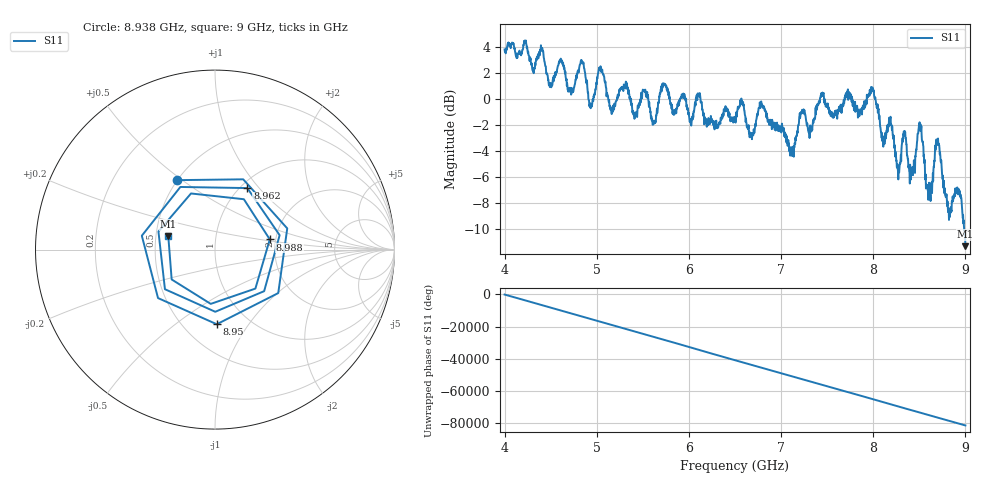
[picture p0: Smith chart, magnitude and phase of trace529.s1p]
! Created with skrf 1.8.0 (http://scikit-rf.org).
# Hz S RI R 50.0
!freq ReS11 ImS11
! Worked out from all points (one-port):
!   1601 points, 4 GHz to 9 GHz, reference 50 ohm
!   lowest |S11| = -11.4 dB at 9 GHz (marker M1), VSWR 1.74, Z = 29.1 + j4.63 ohm
!   |S11| at or under -10 dB: 8.986223 GHz to end of sweep
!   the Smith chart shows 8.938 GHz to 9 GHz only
!   S11 on the Smith chart (normalised r, x): 8.938 GHz: 0.50, +0.48; 8.95 GHz: 0.72, -0.72; 8.962 GHz: 1.08, +0.87; 8.988 GHz: 1.86, +0.23; 9 GHz: 0.58, +0.09
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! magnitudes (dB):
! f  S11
! 4 GHz  3.8
! 4.625 GHz  2.7
! 4.722 GHz  0.3
! 4.844 GHz  2.7
! 4.934 GHz  -0.7
! 5.038 GHz  2.3
! 5.162 GHz  -1.2
! 5.25 GHz  0.6
! 5.875 GHz  -0.4
! 6.5 GHz  -1.4
! 6.684 GHz  -3.1
! 6.794 GHz  -0.4
! 7.125 GHz  -4.0
! 7.228 GHz  -0.9
! 7.75 GHz  0.1
! 7.988 GHz  0.7
! 8.103 GHz  -2.9
! 8.375 GHz  -4.7
! 8.428 GHz  -5.6
! 8.506 GHz  -2.2
! 8.597 GHz  -7.8
! 8.697 GHz  -3.2
! 8.825 GHz  -8.6
! 8.938 GHz  -7.1
! 8.95 GHz  -7.6
! 8.962 GHz  -8.2
! 8.988 GHz  -10.2
! 9 GHz  -11.4
